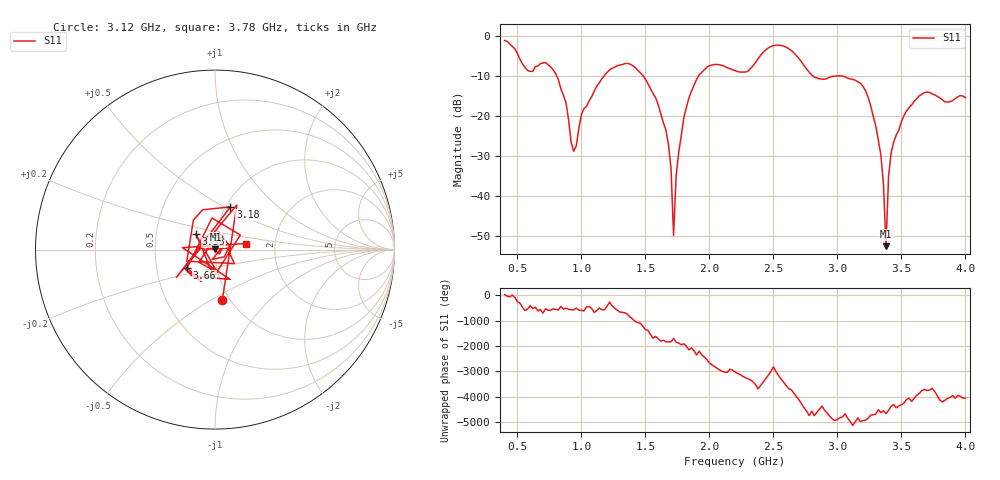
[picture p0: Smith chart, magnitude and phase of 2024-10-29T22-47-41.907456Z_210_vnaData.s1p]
!Created with skrf (http://scikit-rf.org).
# Hz S RI R 50.0
!freq ReS11 ImS11
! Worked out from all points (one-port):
!   181 points, 400 MHz to 4 GHz, reference 50 ohm
!   lowest |S11| = -52.6 dB at 3.38 GHz (marker M1), VSWR 1.00, Z = 50.2 + j0.0782 ohm
!   |S11| at or under -10 dB: 805.8 MHz to 1.179 GHz (373.3 MHz wide, 37.6 % of centre); 1.481 GHz to 1.917 GHz (435.9 MHz wide, 25.7 % of centre); 2.806 GHz to end of sweep
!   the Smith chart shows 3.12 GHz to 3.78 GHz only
!   S11 on the Smith chart (normalised r, x): 3.12 GHz: 0.92, -0.56; 3.18 GHz: 1.05, +0.53; 3.58 GHz: 0.80, +0.14; 3.66 GHz: 0.72, -0.15; 3.78 GHz: 1.41, +0.10
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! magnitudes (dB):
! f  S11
! 400 MHz  -1.2
! 580 MHz  -8.7
! 760 MHz  -7.8
! 860 MHz  -14.9
! 940 MHz  -28.9
! 1.02 GHz  -18.2
! 1.3 GHz  -7.4
! 1.6 GHz  -17.3
! 1.68 GHz  -27.2
! 1.7 GHz  -33.1
! 1.72 GHz  -49.9
! 1.74 GHz  -35.2
! 1.76 GHz  -29.2
! 1.92 GHz  -9.8
! 2.2 GHz  -8.7
! 2.66 GHz  -4.3
! 3.1 GHz  -10.8
! 3.12 GHz  -11.0
! 3.18 GHz  -11.9
! 3.34 GHz  -29.9
! 3.38 GHz  -52.6
! 3.4 GHz  -35.1
! 3.42 GHz  -29.2
! 3.56 GHz  -18.0
! 3.58 GHz  -17.3
! 3.66 GHz  -14.7
! 3.78 GHz  -15.2
! 4 GHz  -15.5
